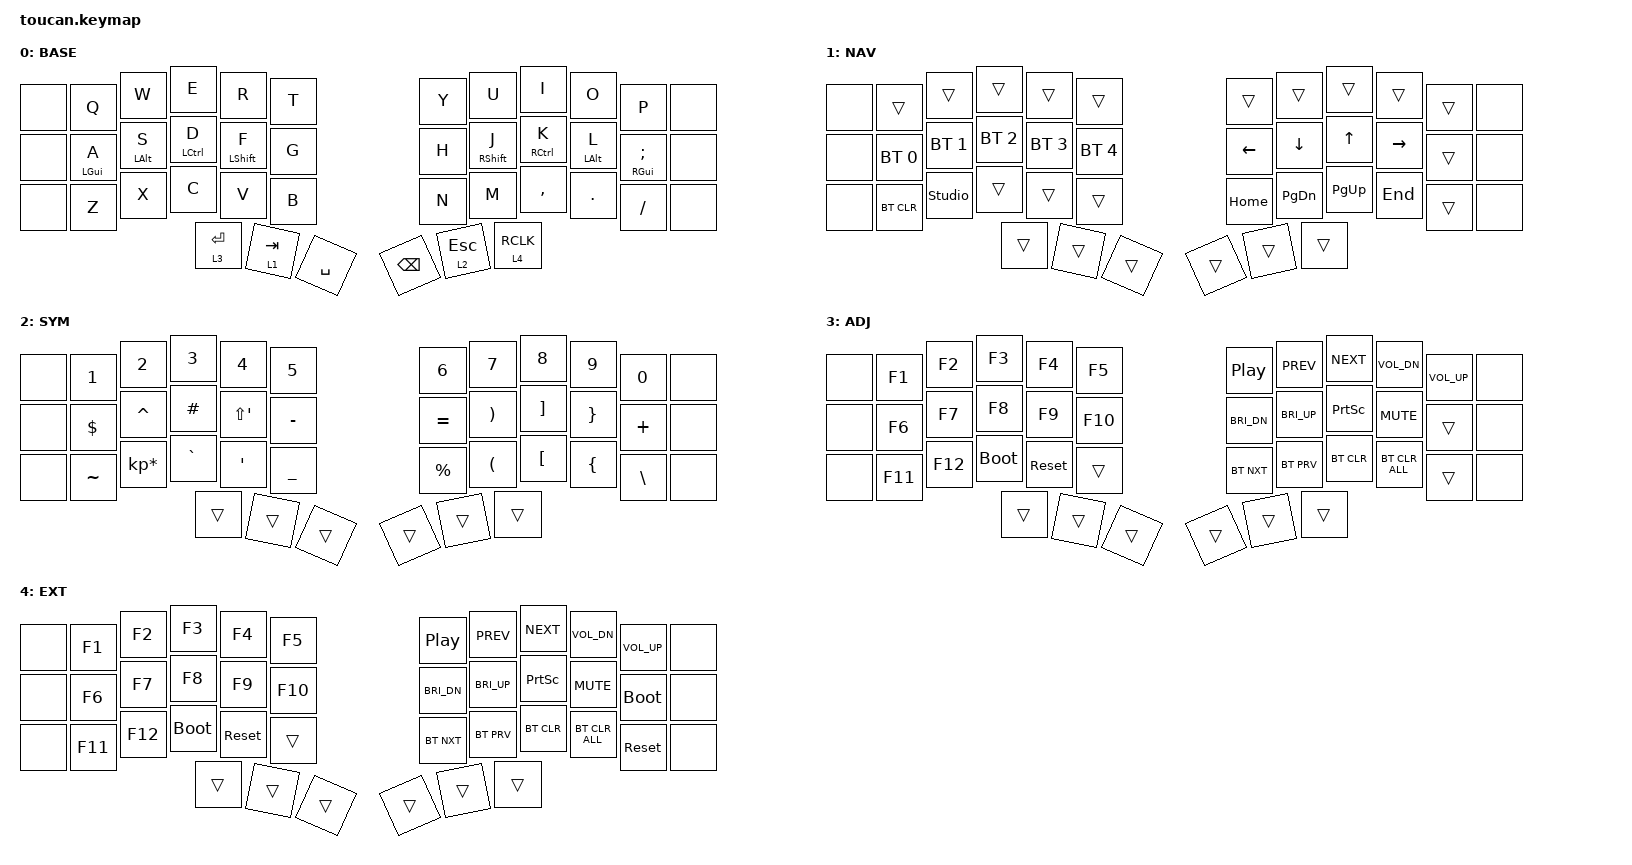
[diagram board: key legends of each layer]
#include <behaviors.dtsi>
#include <dt-bindings/zmk/bt.h>
#include <dt-bindings/zmk/keys.h>
#include <dt-bindings/zmk/pointing.h>

#define BASE 0
#define NAV  1
#define SYM  2
#define ADJ  3
#define MOU  4

/ {
    behaviors {
        hm: homerow_mods {
            compatible = "zmk,behavior-hold-tap";
            #binding-cells = <2>;
            tapping-term-ms = <280>;
            quick-tap-ms = <175>;
            require-prior-idle-ms = <150>;
            flavor = "balanced";
            bindings = <&kp>, <&kp>;
        };

        lmc: layer_mouseclick {
            compatible = "zmk,behavior-hold-tap";
            #binding-cells = <2>;
            tapping-term-ms = <200>;
            flavor = "tap-preferred";
            bindings = <&mo>, <&mkp>;
        };
    };

    conditional_layers {
        compatible = "zmk,conditional-layers";

        tri_layer {
            if-layers = <1 2>;
            then-layer = <3>;
        };
    };

    keymap {
        compatible = "zmk,keymap";

        base {
            display-name = "BASE";
            bindings = <
                &none &kp Q      &kp W      &kp E       &kp R       &kp T   &kp Y &kp U       &kp I       &kp O      &kp P         &none
                &none &hm LGUI A &hm LALT S &hm LCTRL D &hm LSHFT F &kp G   &kp H &hm RSHFT J &hm RCTRL K &hm LALT L &hm RGUI SEMI &none
                &none &kp Z      &kp X      &kp C       &kp V       &kp B   &kp N &kp M       &kp COMMA   &kp DOT    &kp FSLH      &none
                                &lt 3 ENTER  &lt 1 TAB    &kp SPACE      &kp BSPC     &lt 2 ESCAPE &lmc 4 RCLK
            >;
        };

        nav {
            display-name = "NAV";
            bindings = <
                &none &trans       &trans         &trans       &trans       &trans         &trans   &trans    &trans    &trans    &trans &none
                &none &bt BT_SEL 0 &bt BT_SEL 1   &bt BT_SEL 2 &bt BT_SEL 3 &bt BT_SEL 4   &kp LEFT &kp DOWN  &kp UP    &kp RIGHT &trans &none
                &none &bt BT_CLR   &studio_unlock &trans       &trans       &trans         &kp HOME &kp PG_DN &kp PG_UP &kp END   &trans &none
                                &trans &trans &trans   &trans &trans &trans
            >;
        };

        sym {
            display-name = "SYM";
            bindings = <
                &none &kp N1    &kp N2          &kp N3    &kp N4      &kp N5      &kp N6    &kp N7   &kp N8   &kp N9   &kp N0   &none
                &none &kp DLLR  &kp CARET       &kp HASH  &kp LS(SQT) &kp MINUS   &kp EQUAL &kp RPAR &kp RBKT &kp RBRC &kp PLUS &none
                &none &kp TILDE &kp KP_MULTIPLY &kp GRAVE &kp SQT     &kp UNDER   &kp PRCNT &kp LPAR &kp LBKT &kp LBRC &kp BSLH &none
                                &trans &trans &trans   &trans &trans &trans
            >;
        };

        adj {
            display-name = "ADJ";
            bindings = <
                &none &kp F1  &kp F2  &kp F3      &kp F4     &kp F5    &kp C_PP     &kp C_PREV   &kp C_NEXT      &kp C_VOL_DN   &kp C_VOL_UP &none
                &none &kp F6  &kp F7  &kp F8      &kp F9     &kp F10   &kp C_BRI_DN &kp C_BRI_UP &kp PRINTSCREEN &kp C_MUTE     &trans       &none
                &none &kp F11 &kp F12 &bootloader &sys_reset &trans    &bt BT_NXT   &bt BT_PRV   &bt BT_CLR      &bt BT_CLR_ALL &trans       &none
                                &trans &trans &trans   &trans &trans &trans
            >;
        };

        ext {
            display-name = "EXT";
            bindings = <
                &none &kp F1  &kp F2  &kp F3      &kp F4     &kp F5    &kp C_PP     &kp C_PREV   &kp C_NEXT      &kp C_VOL_DN   &kp C_VOL_UP &none
                &none &kp F6  &kp F7  &kp F8      &kp F9     &kp F10   &kp C_BRI_DN &kp C_BRI_UP &kp PRINTSCREEN &kp C_MUTE     &bootloader  &none
                &none &kp F11 &kp F12 &bootloader &sys_reset &trans    &bt BT_NXT   &bt BT_PRV   &bt BT_CLR      &bt BT_CLR_ALL &sys_reset   &none
                                &trans &trans &trans   &trans &trans &trans
            >;
        };
    };
};
